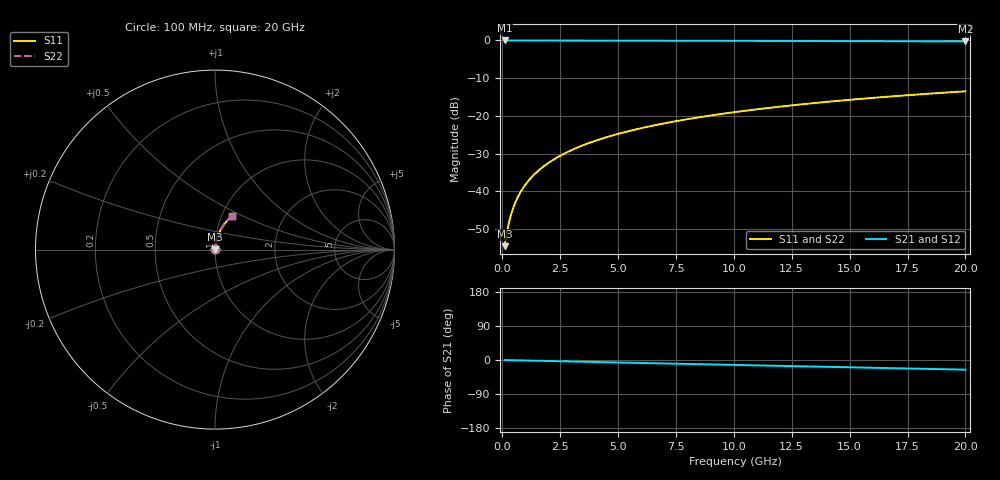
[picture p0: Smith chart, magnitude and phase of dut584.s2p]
! Touchstone file exported from HFSS 2026.1.0
!  File:  C:/ffzhzh/LocalFiles/Ansys_Project_Files/temp_train_BSMRDL_584_1783015751_53980.aedt
!  Generated:  02:10:32 AM Jul  3, 2026
!  Design:  BSMRDL
!  Project:  temp_train_BSMRDL_584_1783015751_53980
! Variables:
!  h_bsmrdl = 4.79um
!  h_ox = 20um
!  h_rdl = 5um
!  h_sub = 80um
!  h_tmrdl = 5um
!  h_tsv = 80um
!  h_via = 3um
!  l_bsmrdl = 370.56um
!  l_sub = 770.56um
!  l_tmrdl = 200um
!  m_sub = 200um
!  pitch = 45.17um
!  r_tsv = 6um
!  s_tmrdl = 10um
!  w_bsmrdl = 23.8um
!  w_sub = 500um
!  w_tmrdl = 12um
!  x_tsv_center1 = 206um
!  x_tsv_center2 = 600.36um
!  x_tsv_center3 = 812.36um
!  x_tsv_center4 = 1206.72um
!  x_tsv_center5 = 1418.72um
!  x_tsv_center6 = 1813.08um
# GHz S MA R 50.000000
! Terminal data exported
! Port[1] = BSM_RDL1_1_T1
! Port[2] = BSM_RDL1_1_T2
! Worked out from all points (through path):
!   200 points, 100 MHz to 20 GHz, reference 50 ohm
!   highest |S21| = -0.01 dB at 100 MHz (marker M1); lowest = -0.3 dB at 20 GHz (marker M2)
!   group delay of S21, straight-line fit = 3.53 ps
!   lowest |S11| = -54.5 dB at 100 MHz (marker M3), VSWR 1.00, Z = 50.1 + j0.132 ohm
!   |S11| at or under -10 dB: start of sweep to end of sweep
!   |S22| runs from -54.5 to -13.5 dB; largest |S21 - S12| = 3.5e-15
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0.1  0.001878 44.6  0.9987 -0.1  0.9987 -0.1  0.001878 44.6
! Gamma 0 0 0 0
! Port Impedance 50 0 50 0
0.2  0.002887 63.2  0.9986 -0.3  0.9986 -0.3  0.002874 63.2
0.3  0.004018 71.2  0.9985 -0.4  0.9985 -0.4  0.003997 71.1
0.4  0.005187 75.2  0.9984 -0.5  0.9984 -0.5  0.005162 75.1
0.5  0.006372 77.5  0.9984 -0.7  0.9984 -0.7  0.006345 77.4
0.6  0.007562 79.0  0.9983 -0.8  0.9983 -0.8  0.007535 78.9
0.8  0.009939 80.6  0.9982 -1.1  0.9982 -1.1  0.009914 80.6
1.1  0.01348 81.7  0.9981 -1.5  0.9981 -1.5  0.01346 81.7
1.3  0.01582 82.0  0.998 -1.7  0.998 -1.7  0.0158 82.0
1.5  0.01814 82.2  0.9979 -2.0  0.9979 -2.0  0.01813 82.2
1.8  0.02161 82.3  0.9978 -2.4  0.9978 -2.4  0.0216 82.3
2.1  0.02506 82.3  0.9976 -2.8  0.9976 -2.8  0.02505 82.3
2.7  0.03191 82.0  0.9971 -3.6  0.9971 -3.6  0.03191 82.1
3.5  0.04097 81.5  0.9964 -4.6  0.9964 -4.6  0.04097 81.5
4.2  0.04884 80.8  0.9957 -5.5  0.9957 -5.5  0.04884 80.8
5  0.05775 80.0  0.9949 -6.6  0.9949 -6.6  0.05775 80.0
6.8  0.07753 78.0  0.9928 -8.9  0.9928 -8.9  0.07753 78.0
8.3  0.09374 76.3  0.9909 -10.8  0.9909 -10.8  0.09374 76.3
10.1  0.1129 74.3  0.9884 -13.1  0.9884 -13.1  0.1129 74.3
13.4  0.1471 70.4  0.9832 -17.3  0.9832 -17.3  0.1472 70.4
16.7  0.1802 66.5  0.9771 -21.4  0.9771 -21.4  0.1802 66.5
20  0.2117 62.6  0.9702 -25.5  0.9702 -25.5  0.2117 62.6
